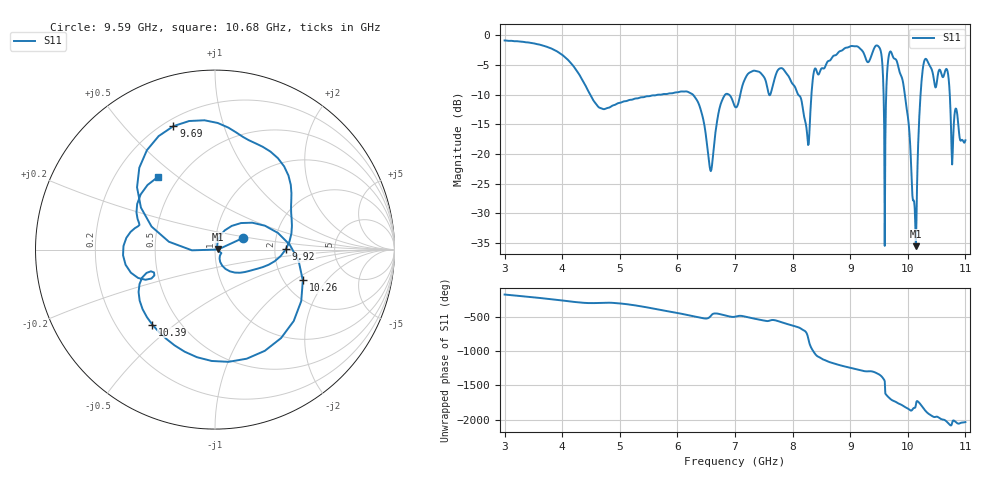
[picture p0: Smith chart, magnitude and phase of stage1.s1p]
! Stage 1 Free-Space Antenna - openEMS
# GHz S DB R 50
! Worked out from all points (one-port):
!   801 points, 3 GHz to 11 GHz, reference 50 ohm
!   lowest |S11| = -35.6 dB at 10.14 GHz (marker M1), VSWR 1.03, Z = 51.7 + j0.377 ohm
!   |S11| at or under -10 dB: 4.488 GHz to 5.722 GHz (1.234 GHz wide, 24.2 % of centre); 6.268 GHz to 6.831 GHz (562.9 MHz wide, 8.59 % of centre); 9.948 GHz to 10.22 GHz (273.5 MHz wide, 2.71 % of centre)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
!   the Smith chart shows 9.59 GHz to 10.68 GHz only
!   S11 on the Smith chart (normalised r, x): 9.59 GHz: 1.35, +0.18; 9.69 GHz: 0.24, +0.69; 9.92 GHz: 2.30, +0.01; 10.26 GHz: 2.52, -1.18; 10.39 GHz: 0.35, -0.42; 10.68 GHz: 0.39, +0.42
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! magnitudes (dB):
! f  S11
! 3 GHz  -0.9
! 4 GHz  -3.3
! 4.63 GHz  -12.1
! 5 GHz  -11.4
! 6 GHz  -9.6
! 6.36 GHz  -11.3
! 6.58 GHz  -22.9
! 6.78 GHz  -10.9
! 7 GHz  -12.0
! 7.3 GHz  -6.1
! 8 GHz  -8.2
! 8.26 GHz  -17.6
! 8.39 GHz  -5.6
! 9 GHz  -1.9
! 9.5 GHz  -2.0
! 9.59 GHz  -15.5
! 9.63 GHz  -8.5
! 9.69 GHz  -2.8
! 9.92 GHz  -8.1
! 10 GHz  -13.7
! 10.11 GHz  -28.0
! 10.14 GHz  -35.6
! 10.26 GHz  -5.7
! 10.39 GHz  -5.3
! 10.68 GHz  -5.8
! 10.77 GHz  -21.8
! 10.84 GHz  -12.4
! 11 GHz  -17.7
